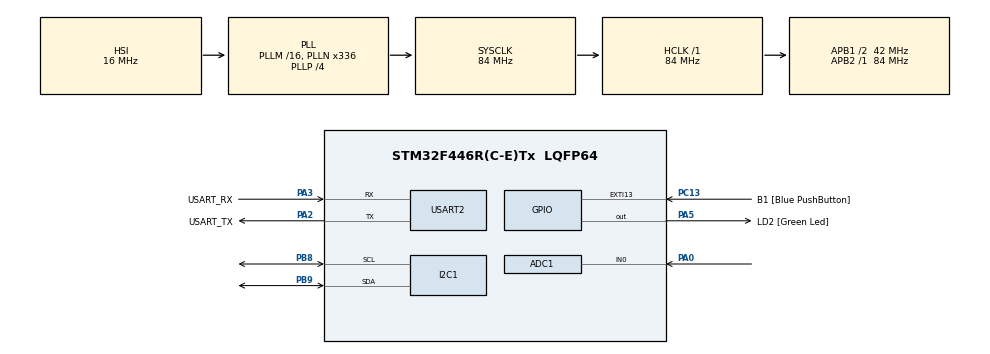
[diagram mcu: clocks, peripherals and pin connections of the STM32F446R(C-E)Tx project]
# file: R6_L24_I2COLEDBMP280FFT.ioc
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ADC1.Channel-0\#ChannelRegularConversion=ADC_CHANNEL_0
ADC1.DMAContinuousRequests=ENABLE
ADC1.ExternalTrigConv=ADC_EXTERNALTRIGCONV_T2_TRGO
ADC1.NbrOfConversionFlag=1
ADC1.Rank-0\#ChannelRegularConversion=1
ADC1.SamplingTime-0\#ChannelRegularConversion=ADC_SAMPLETIME_3CYCLES
ADC1.master=1
Dma.ADC1.1.Direction=DMA_PERIPH_TO_MEMORY
Dma.ADC1.1.FIFOMode=DMA_FIFOMODE_DISABLE
Dma.ADC1.1.Instance=DMA2_Stream0
Dma.ADC1.1.MemDataAlignment=DMA_MDATAALIGN_HALFWORD
Dma.ADC1.1.MemInc=DMA_MINC_ENABLE
Dma.ADC1.1.Mode=DMA_CIRCULAR
Dma.ADC1.1.PeriphDataAlignment=DMA_PDATAALIGN_HALFWORD
Dma.ADC1.1.PeriphInc=DMA_PINC_DISABLE
Dma.ADC1.1.Priority=DMA_PRIORITY_LOW
Dma.I2C1_TX.0.Direction=DMA_MEMORY_TO_PERIPH
Dma.I2C1_TX.0.FIFOMode=DMA_FIFOMODE_DISABLE
Dma.I2C1_TX.0.Instance=DMA1_Stream6
Dma.I2C1_TX.0.MemDataAlignment=DMA_MDATAALIGN_BYTE
Dma.I2C1_TX.0.MemInc=DMA_MINC_ENABLE
Dma.I2C1_TX.0.Mode=DMA_NORMAL
Dma.I2C1_TX.0.PeriphDataAlignment=DMA_PDATAALIGN_BYTE
Dma.I2C1_TX.0.PeriphInc=DMA_PINC_DISABLE
Dma.I2C1_TX.0.Priority=DMA_PRIORITY_LOW
Dma.Request0=I2C1_TX
Dma.Request1=ADC1
I2C1.I2C_Mode=I2C_Fast
Mcu.Family=STM32F4
Mcu.Name=STM32F446R(C-E)Tx
Mcu.Package=LQFP64
NVIC.ADC_IRQn=true\:0\:0\:false\:true\:true\:4\:true\:true
NVIC.DMA1_Stream6_IRQn=true\:0\:0\:false\:true\:true\:2\:false\:true
NVIC.DMA2_Stream0_IRQn=true\:0\:0\:false\:true\:true\:3\:false\:true
NVIC.I2C1_EV_IRQn=true\:0\:0\:false\:true\:true\:1\:true\:true
NVIC.PriorityGroup=NVIC_PRIORITYGROUP_0
PA0-WKUP.Signal=ADCx_IN0
PA13.GPIO_Label=TMS
PA13.Mode=Serial_Wire
PA13.Signal=SYS_JTMS-SWDIO
PA14.GPIO_Label=TCK
PA14.Mode=Serial_Wire
PA14.Signal=SYS_JTCK-SWCLK
PA2.GPIO_Label=USART_TX
PA2.Mode=Asynchronous
PA2.Signal=USART2_TX
PA3.GPIO_Label=USART_RX
PA3.Mode=Asynchronous
PA3.Signal=USART2_RX
PA5.GPIO_Label=LD2 [Green Led]
PA5.Signal=GPIO_Output
PB3.GPIO_Label=SWO
PB3.Signal=SYS_JTDO-SWO
PB8.Mode=I2C
PB8.Signal=I2C1_SCL
PB9.Mode=I2C
PB9.Signal=I2C1_SDA
PC13.GPIO_Label=B1 [Blue PushButton]
PC13.GPIO_ModeDefaultEXTI=GPIO_MODE_IT_FALLING
PC13.Signal=GPXTI13
PC14-OSC32_IN.Mode=LSE-External-Oscillator
PC14-OSC32_IN.Signal=RCC_OSC32_IN
PC15-OSC32_OUT.Mode=LSE-External-Oscillator
PC15-OSC32_OUT.Signal=RCC_OSC32_OUT
PH0-OSC_IN.Mode=HSE-External-Oscillator
PH0-OSC_IN.Signal=RCC_OSC_IN
PH1-OSC_OUT.Mode=HSE-External-Oscillator
PH1-OSC_OUT.Signal=RCC_OSC_OUT
ProjectManager.HeapSize=0x200
ProjectManager.StackSize=0x400
ProjectManager.TargetToolchain=STM32CubeIDE
RCC.48MHZClocksFreq_Value=84000000
RCC.AHBFreq_Value=84000000
RCC.APB1CLKDivider=RCC_HCLK_DIV2
RCC.APB1Freq_Value=42000000
RCC.APB1TimFreq_Value=84000000
RCC.APB2Freq_Value=84000000
RCC.APB2TimFreq_Value=84000000
RCC.CortexFreq_Value=84000000
RCC.FLatency-AdvancedSettings=FLASH_LATENCY_2
RCC.HCLKFreq_Value=84000000
RCC.HSE_VALUE=8000000
RCC.HSI_VALUE=16000000
RCC.PLLN=336
RCC.PLLP=RCC_PLLP_DIV4
RCC.SYSCLKFreq_VALUE=84000000
RCC.SYSCLKSource=RCC_SYSCLKSOURCE_PLLCLK
RCC.USBFreq_Value=168000000
RCC.VCOOutputFreq_Value=336000000
SH.ADCx_IN0.0=ADC1_IN0,IN0
TIM2.Period=634
TIM2.Prescaler=2
TIM2.TIM_MasterOutputTrigger=TIM_TRGO_UPDATE
USART2.VirtualMode=VM_ASYNC
VP_TIM2_VS_ClockSourceINT.Mode=Internal
board=NUCLEO-F446RE

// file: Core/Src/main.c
/* USER CODE BEGIN Header */
/**
  ******************************************************************************
  * @file           : main.c
  * @brief          : Main program body
  ******************************************************************************
  * @attention
  *
  * Copyright (c) 2022 STMicroelectronics.
  * All rights reserved.
  *
  * This software is licensed under terms that can be found in the LICENSE file
  * in the root directory of this software component.
  * If no LICENSE file comes with this software, it is provided AS-IS.
  *
  ******************************************************************************
  */
/* USER CODE END Header */
#include "main.h"
#include "adc.h"
#include "dma.h"
#include "i2c.h"
#include "tim.h"
#include "usart.h"
#include "gpio.h"

/* USER CODE BEGIN Includes */
#include "SSD1306_OLED.h"
#include "GFX_BW.h"
#include "fonts/fonts.h"
#include "bmp280.h"
#include "arm_math.h"
#include <stdio.h>
/* USER CODE END Includes */

/* USER CODE BEGIN PTD */
#define FFT_SAMPLES 1024
/* USER CODE END PTD */

/* USER CODE BEGIN PV */

// BMP280
BMP280_t Bmp280;
uint32_t SoftTimerBmp;

float Temperature;
float Pressure;

//OLED
char Message[32];
uint32_t SoftTimerOled;

//FFT
uint16_t AdcMicrophone[FFT_SAMPLES];

float FFTInBuffer[FFT_SAMPLES];
float FFTOutBuffer[FFT_SAMPLES];

arm_rfft_fast_instance_f32 FFTHandler;	//taka strukture przyjmuje funkcja z bibl arm_math.h, na stronie jest opis tego

volatile uint8_t SamplesReady;	// zmienna ktora bedzie 0/1, ktora bedzie sygnalizowala ze probki sa gotowe do obrobki (tzw flaga)

uint8_t OutFreqArray[10];	// to jest tablica na 10 przedzialow czestotliwosci, po przeliczeniu transformaty
/* USER CODE END PV */

void SystemClock_Config(void);
static void MX_NVIC_Init(void);
/* USER CODE BEGIN PFP */
void CalculateFFT(void);
/* USER CODE END PFP */

int main(void)
{

  /* MCU Configuration--------------------------------------------------------*/

  /* Reset of all peripherals, Initializes the Flash interface and the Systick. */
  HAL_Init();

  /* Configure the system clock */
  SystemClock_Config();

  /* Initialize all configured peripherals */
  MX_GPIO_Init();
  MX_DMA_Init();
  MX_USART2_UART_Init();
  MX_I2C1_Init();
  MX_ADC1_Init();
  MX_TIM2_Init();

  /* Initialize interrupts */
  MX_NVIC_Init();
  /* USER CODE BEGIN 2 */
  BMP280_Init(&Bmp280, &hi2c1, 0x76);
  SSD1306_Init(&hi2c1);

  GFX_SetFont(font_8x5);
  SSD1306_Clear(SSD1306_BLACK);
  SSD1306_Display();

  HAL_TIM_Base_Start(&htim2);
  HAL_ADC_Start_DMA(&hadc1, (uint32_t*)&AdcMicrophone, FFT_SAMPLES);
  arm_rfft_fast_init_f32(&FFTHandler, FFT_SAMPLES);	// funkcja inicjalizujaca, dostepna na stronie tam tez opisane

  SoftTimerBmp = HAL_GetTick();
  SoftTimerOled = HAL_GetTick();
  /* USER CODE END 2 */

  /* Infinite loop */
  /* USER CODE BEGIN WHILE */
  while (1)
  {
	  // FFT
	  if(SamplesReady == 1)
	  {
		  SamplesReady = 0;

		  for(uint32_t i = 0; i < FFT_SAMPLES; i++)		// przepisujemy zebrane dane do innego bufora zeby probki caly czas mogly byc
		  {												// zbierane w tle a tutaj na tych bedziemy sobie dzialac
			  FFTInBuffer[i] = (float)AdcMicrophone[i];
		  }
		  CalculateFFT();
	  }

	  // BMP
	  if((HAL_GetTick() - SoftTimerBmp) > 10)
	  {
		  SoftTimerBmp = HAL_GetTick();

		  if(Bmp280.bmp_i2c->State == HAL_I2C_STATE_READY)
		  {
			  BMP280_ReadPressureAndTemperature(&Bmp280, &Pressure, &Temperature);
		  }
	  }

	  //OLED
	  if((HAL_GetTick() - SoftTimerOled) > 100)
	  {
		  SoftTimerOled = HAL_GetTick();

		  SSD1306_Clear(SSD1306_BLACK);

		  sprintf(Message, "Pressure: %.2f", Pressure);
		  GFX_DrawString(0, 0, Message, SSD1306_WHITE, 0);
		  sprintf(Message, "Temperature: %.2f", Temperature);
		  GFX_DrawString(0, 10, Message, SSD1306_WHITE, 0);

			  // FFT
			  for(uint8_t i = 0; i < 10; i++) // Each frequency
			  {
				  GFX_DrawFillRectangle(10+(i*11), 64-OutFreqArray[i], 10, OutFreqArray[i], SSD1306_WHITE);
			  }

		  SSD1306_Display();
	  }
    /* USER CODE END WHILE */

  }
}

void SystemClock_Config(void)
{
  RCC_OscInitTypeDef RCC_OscInitStruct = {0};
  RCC_ClkInitTypeDef RCC_ClkInitStruct = {0};

  /** Configure the main internal regulator output voltage
  */
  __HAL_RCC_PWR_CLK_ENABLE();
  __HAL_PWR_VOLTAGESCALING_CONFIG(PWR_REGULATOR_VOLTAGE_SCALE3);
  /** Initializes the RCC Oscillators according to the specified parameters
  * in the RCC_OscInitTypeDef structure.
  */
  RCC_OscInitStruct.OscillatorType = RCC_OSCILLATORTYPE_HSI;
  RCC_OscInitStruct.HSIState = RCC_HSI_ON;
  RCC_OscInitStruct.HSICalibrationValue = RCC_HSICALIBRATION_DEFAULT;
  RCC_OscInitStruct.PLL.PLLState = RCC_PLL_ON;
  RCC_OscInitStruct.PLL.PLLSource = RCC_PLLSOURCE_HSI;
  RCC_OscInitStruct.PLL.PLLM = 16;
  RCC_OscInitStruct.PLL.PLLN = 336;
  RCC_OscInitStruct.PLL.PLLP = RCC_PLLP_DIV4;
  RCC_OscInitStruct.PLL.PLLQ = 2;
  RCC_OscInitStruct.PLL.PLLR = 2;
  if (HAL_RCC_OscConfig(&RCC_OscInitStruct) != HAL_OK)
  {
    Error_Handler();
  }
  /** Initializes the CPU, AHB and APB buses clocks
  */
  RCC_ClkInitStruct.ClockType = RCC_CLOCKTYPE_HCLK|RCC_CLOCKTYPE_SYSCLK
                              |RCC_CLOCKTYPE_PCLK1|RCC_CLOCKTYPE_PCLK2;
  RCC_ClkInitStruct.SYSCLKSource = RCC_SYSCLKSOURCE_PLLCLK;
  RCC_ClkInitStruct.AHBCLKDivider = RCC_SYSCLK_DIV1;
  RCC_ClkInitStruct.APB1CLKDivider = RCC_HCLK_DIV2;
  RCC_ClkInitStruct.APB2CLKDivider = RCC_HCLK_DIV1;

  if (HAL_RCC_ClockConfig(&RCC_ClkInitStruct, FLASH_LATENCY_2) != HAL_OK)
  {
    Error_Handler();
  }
}

/**
  * @brief NVIC Configuration.
  * @retval None
  */
static void MX_NVIC_Init(void)
{
  /* I2C1_EV_IRQn interrupt configuration */
  HAL_NVIC_SetPriority(I2C1_EV_IRQn, 0, 0);
  HAL_NVIC_EnableIRQ(I2C1_EV_IRQn);
  /* DMA1_Stream6_IRQn interrupt configuration */
  HAL_NVIC_SetPriority(DMA1_Stream6_IRQn, 0, 0);
  HAL_NVIC_EnableIRQ(DMA1_Stream6_IRQn);
  /* DMA2_Stream0_IRQn interrupt configuration */
  HAL_NVIC_SetPriority(DMA2_Stream0_IRQn, 0, 0);
  HAL_NVIC_EnableIRQ(DMA2_Stream0_IRQn);
  /* ADC_IRQn interrupt configuration */
  HAL_NVIC_SetPriority(ADC_IRQn, 0, 0);
  HAL_NVIC_EnableIRQ(ADC_IRQn);
}

/* USER CODE BEGIN 4 */
void HAL_ADC_ConvCpltCallback(ADC_HandleTypeDef* hadc)
{
	if(hadc->Instance == ADC1)
	{
		SamplesReady = 1;
	}
}
float complexABS(float real, float compl)
{
	return sqrtf(real*real+compl*compl);
}

void CalculateFFT(void)
{
	arm_rfft_fast_f32(&FFTHandler, FFTInBuffer, FFTOutBuffer, 0);	// transformata mimo ze przyjmuje liczby rzeczywiste to na wyjsciu
																	// daje liczby zespolone, dlatego trzeba to przeliczyc
	//przeliczenie dla probek dzwiekowych tej transformaty na liczby rzeczywiste + decybele
	int Freqs[FFT_SAMPLES];
	int FreqPoint = 0;
	int Offset = 50; // variable noise floor offset

	// calculate abs values and linear-to-dB
	for (int i = 0; i < FFT_SAMPLES; i = i+2)
	{
		Freqs[FreqPoint] = (int)(20*log10f(complexABS(FFTOutBuffer[i], FFTOutBuffer[i+1]))) - Offset;

		if(Freqs[FreqPoint] < 0)
		{
			Freqs[FreqPoint] = 0;
		}
		FreqPoint++;
	}
	OutFreqArray[0] = (uint8_t)Freqs[1]; // 22 Hz
	OutFreqArray[1] = (uint8_t)Freqs[2]; // 63 Hz
	OutFreqArray[2] = (uint8_t)Freqs[3]; // 125 Hz
	OutFreqArray[3] = (uint8_t)Freqs[6]; // 250 Hz
	OutFreqArray[4] = (uint8_t)Freqs[12]; // 500 Hz
	OutFreqArray[5] = (uint8_t)Freqs[23]; // 1000 Hz
	OutFreqArray[6] = (uint8_t)Freqs[51]; // 2200 Hz
	OutFreqArray[7] = (uint8_t)Freqs[104]; // 4500 Hz
	OutFreqArray[8] = (uint8_t)Freqs[207]; // 9000 Hz
	OutFreqArray[9] = (uint8_t)Freqs[344]; // 15000 Hz
}
/* USER CODE END 4 */

void Error_Handler(void)
{
  __disable_irq();
  while (1)
  {
  }
}
